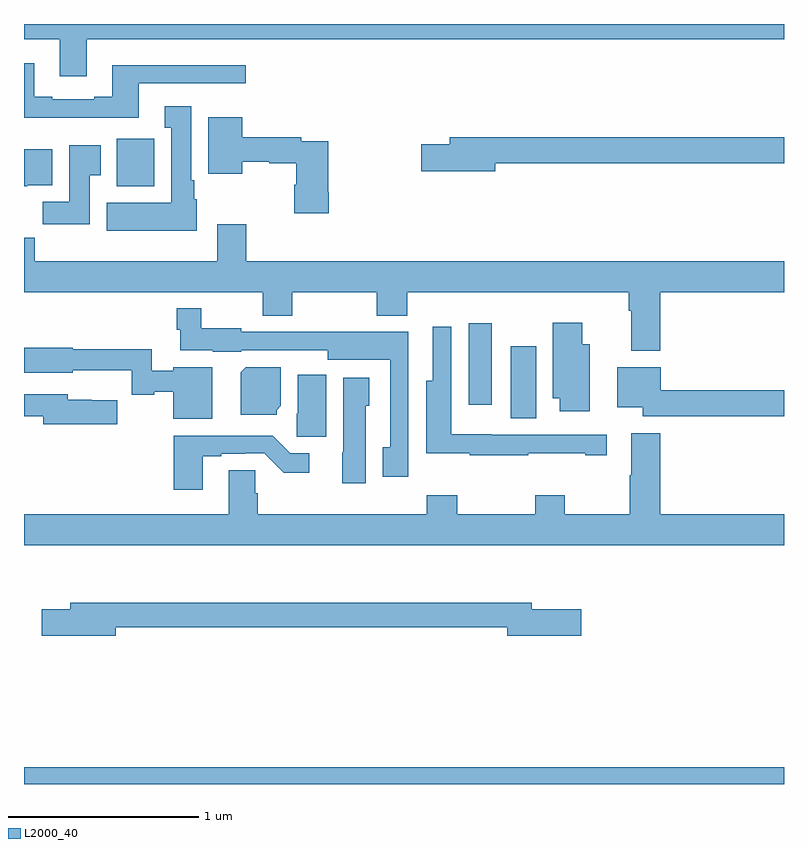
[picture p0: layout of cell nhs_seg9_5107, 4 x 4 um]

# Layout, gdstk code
import gdstk
lib = gdstk.Library(unit=1e-6, precision=1e-09)
def R(c, l, rs):  # rectangles x0, y0, x1, y1
    for r in rs: c.add(gdstk.rectangle(r[:2], r[2:], *l))
def P(c, l, *ps):  # polygons
    for p in ps: c.add(gdstk.Polygon(p, *l))
L2000_40 = (2000, 40)

nhs_seg9_5107 = lib.new_cell('nhs_seg9_5107')
R(nhs_seg9_5107, L2000_40, [(407,1192.5,411,1192.588), (409.562,1194.424,409.696,1194.805), (409.34,1194.495,409.462,1194.925), (407.489,1195.646,407.685,1195.897)])
P(nhs_seg9_5107, L2000_40, [(407.329,1196.42),(411,1196.42),(411,1196.5),(407,1196.5),(407,1196.42),(407.189,1196.42),(407.189,1196.226),(407.329,1196.226)],
  [(407.605,1196.187),(408.166,1196.187),(408.166,1196.284),(407.465,1196.284),(407.465,1196.116),(407.369,1196.116),(407.369,1196.103),(407.149,1196.103),(407.149,1196.116),(407.053,1196.116),(407.053,1196.293),(407,1196.293),(407,1196.006),(407.605,1196.006)],
  [(407.908,1195.578),(407.896,1195.578),(407.896,1195.678),(407.881,1195.678),(407.881,1196.068),(407.741,1196.068),(407.741,1195.955),(407.774,1195.955),(407.774,1195.558),(407.435,1195.558),(407.435,1195.412),(407.908,1195.412)],
  [(408.605,1195.615),(408.6,1195.615),(408.6,1195.884),(408.458,1195.884),(408.458,1195.904),(408.148,1195.904),(408.148,1196.008),(407.969,1196.008),(407.969,1195.712),(408.148,1195.712),(408.148,1195.776),(408.291,1195.776),(408.291,1195.768),(408.434,1195.768),(408.434,1195.653),(408.422,1195.653),(408.422,1195.503),(408.605,1195.503)],
  [(409.48,1195.768),(411,1195.768),(411,1195.904),(409.241,1195.904),(409.241,1195.868),(409.092,1195.868),(409.092,1195.726),(409.48,1195.726)],
  [(407.347,1195.705),(407.404,1195.705),(407.404,1195.861),(407.237,1195.861),(407.237,1195.564),(407.098,1195.564),(407.098,1195.446),(407.347,1195.446)],
  [(407.016,1195.652),(407.149,1195.652),(407.149,1195.84),(407,1195.84),(407,1195.646),(407.016,1195.646)],
  [(410.348,1195.088),(411,1195.088),(411,1195.252),(408.17,1195.252),(408.17,1195.447),(408.017,1195.447),(408.017,1195.252),(407.057,1195.252),(407.057,1195.376),(407,1195.376),(407,1195.088),(408.256,1195.088),(408.256,1194.964),(408.411,1194.964),(408.411,1195.088),(408.856,1195.088),(408.856,1194.965),(409.016,1194.965),(409.016,1195.088),(410.183,1195.088),(410.183,1194.992),(410.195,1194.992),(410.195,1194.779),(410.348,1194.779)],
  [(409.023,1194.88),(408.661,1194.88),(408.661,1194.879),(408.144,1194.879),(408.144,1194.898),(407.932,1194.898),(407.932,1195.003),(407.803,1195.003),(407.803,1194.89),(407.822,1194.89),(407.822,1194.782),(407.994,1194.782),(407.994,1194.776),(408.144,1194.776),(408.144,1194.783),(408.599,1194.783),(408.599,1194.734),(408.927,1194.734),(408.927,1194.273),(408.887,1194.273),(408.887,1194.117),(409.023,1194.117)],
  [(409.978,1194.814),(409.939,1194.814),(409.939,1194.928),(409.784,1194.928),(409.784,1194.53),(409.82,1194.53),(409.82,1194.462),(409.978,1194.462)],
  [(409.655,1194.241),(409.955,1194.241),(409.955,1194.231),(410.068,1194.231),(410.068,1194.339),(409.458,1194.339),(409.458,1194.34),(409.248,1194.34),(409.248,1194.907),(409.152,1194.907),(409.152,1194.622),(409.118,1194.622),(409.118,1194.241),(409.345,1194.241),(409.345,1194.231),(409.655,1194.231)],
  [(407.992,1194.694),(407.786,1194.694),(407.786,1194.676),(407.673,1194.676),(407.673,1194.787),(407.256,1194.787),(407.256,1194.795),(407,1194.795),(407,1194.665),(407.256,1194.665),(407.256,1194.677),(407.567,1194.677),(407.567,1194.549),(407.685,1194.549),(407.685,1194.565),(407.786,1194.565),(407.786,1194.422),(407.992,1194.422)],
  [(408.33,1194.468),(408.352,1194.49),(408.352,1194.694),(408.166,1194.694),(408.14,1194.668),(408.14,1194.443),(408.33,1194.443)],
  [(411,1194.572),(410.35,1194.572),(410.35,1194.694),(410.123,1194.694),(410.123,1194.482),(410.256,1194.482),(410.256,1194.436),(411,1194.436)],
  [(408.592,1194.653),(408.44,1194.653),(408.44,1194.45),(408.436,1194.45),(408.436,1194.327),(408.592,1194.327)],
  [(408.799,1194.492),(408.817,1194.492),(408.817,1194.637),(408.68,1194.637),(408.68,1194.246),(408.674,1194.246),(408.674,1194.084),(408.799,1194.084)],
  [(407.491,1194.521),(407.356,1194.521),(407.356,1194.523),(407.23,1194.523),(407.23,1194.552),(407,1194.552),(407,1194.436),(407.102,1194.436),(407.102,1194.394),(407.491,1194.394)],
  [(411,1193.92),(410.348,1193.92),(410.348,1194.346),(410.195,1194.346),(410.195,1194.125),(410.188,1194.125),(410.188,1193.92),(409.845,1193.92),(409.845,1194.019),(409.69,1194.019),(409.69,1193.92),(409.281,1193.92),(409.281,1194.019),(409.121,1194.019),(409.121,1193.92),(408.23,1193.92),(408.23,1194.03),(408.216,1194.03),(408.216,1194.152),(408.077,1194.152),(408.077,1193.92),(407,1193.92),(407,1193.756),(411,1193.756)],
  [(407.941,1194.225),(408.037,1194.225),(408.037,1194.237),(408.164,1194.237),(408.164,1194.24),(408.264,1194.24),(408.367,1194.138),(408.502,1194.138),(408.502,1194.24),(408.402,1194.24),(408.308,1194.334),(407.789,1194.334),(407.789,1194.048),(407.941,1194.048)],
  [(407.482,1193.326),(409.544,1193.326),(409.544,1193.279),(409.933,1193.279),(409.933,1193.421),(409.672,1193.421),(409.672,1193.455),(407.243,1193.455),(407.243,1193.421),(407.094,1193.421),(407.094,1193.279),(407.482,1193.279)])

lib.write_gds('nhs_seg9_5107.gds')
